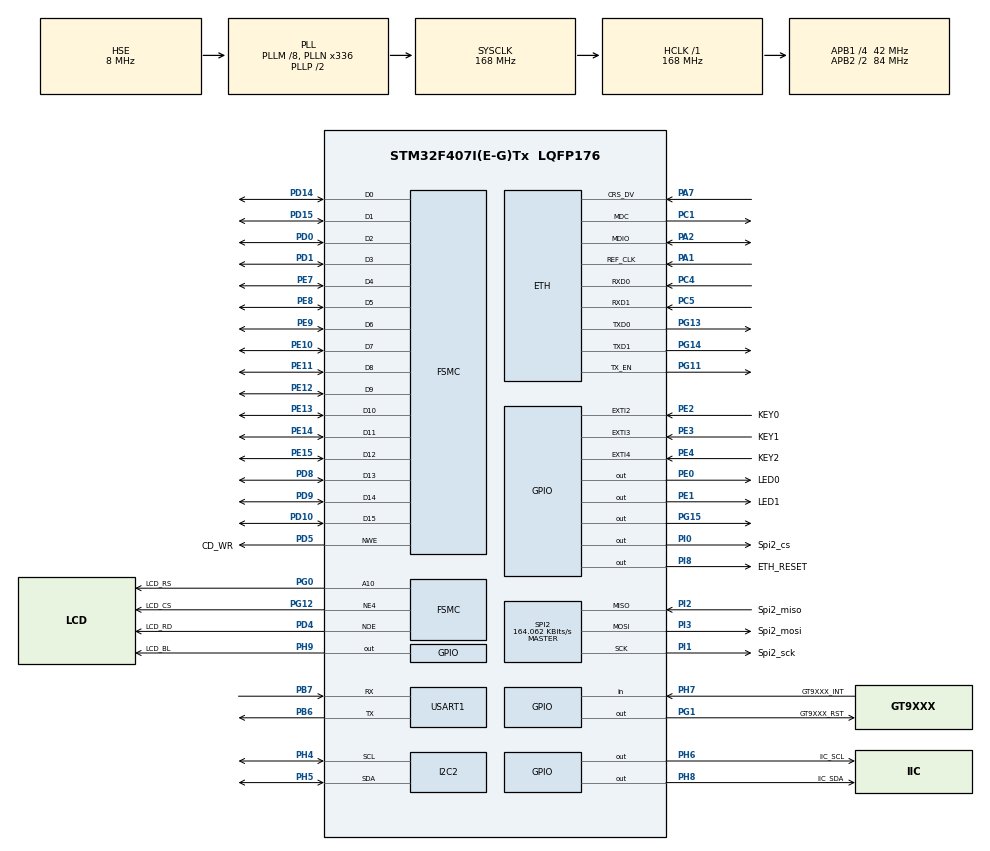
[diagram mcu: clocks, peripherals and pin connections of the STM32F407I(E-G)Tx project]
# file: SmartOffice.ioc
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ETH.MediaInterface=ETH_MEDIA_INTERFACE_RMII
ETH.PHY_DUPLEX_STATUS=0x2000
ETH.PHY_SPEED_STATUS=0x4010
ETH.PHY_SR=0x11
ETH.PhyAddress=0
FATFS._CODE_PAGE=936
FATFS._USE_LABEL=1
FATFS._USE_LFN=3
FREERTOS.Tasks01=WebServer,2,4096,WebServer_Task,Default,NULL,Dynamic,NULL,NULL;Touch,1,1024,Touch_Task,Default,NULL,Dynamic,NULL,NULL;IOT,0,256,IOT_Task,Default,NULL,Dynamic,NULL,NULL;GUI,-1,2048,GUI_Task,Default,NULL,Dynamic,NULL,NULL
FREERTOS.configTOTAL_HEAP_SIZE=40960
FSMC.AddressSetupTime1=0xf
FSMC.DataSetupTime1=60
FSMC.ExtendedAddressSetupTime1=9
FSMC.ExtendedDataSetupTime1=9
FSMC.ExtendedMode1=FSMC_EXTENDED_MODE_ENABLE
LWIP.GATEWAY_ADDRESS=011.010.001.001
LWIP.IP_ADDRESS=010.010.001.022
LWIP.LWIP_DHCP=0
LWIP.LWIP_NETIF_LINK_CALLBACK=1
LWIP.MEM_SIZE=10240
LWIP.NETMASK_ADDRESS=255.255.255.000
LWIP.Version=v2.0.3_Cube
Mcu.Family=STM32F4
Mcu.Name=STM32F407I(E-G)Tx
Mcu.Package=LQFP176
NVIC.ETH_IRQn=true\:6\:0\:true\:false\:true\:true\:true\:true
NVIC.EXTI2_IRQn=true\:6\:0\:true\:false\:true\:true\:true\:true
NVIC.EXTI3_IRQn=true\:6\:0\:true\:false\:true\:true\:true\:true
NVIC.EXTI4_IRQn=true\:6\:0\:true\:false\:true\:true\:true\:true
NVIC.PriorityGroup=NVIC_PRIORITYGROUP_4
NVIC.TIM1_UP_TIM10_IRQn=true\:0\:0\:false\:false\:true\:false\:false\:true
NVIC.TimeBase=TIM1_UP_TIM10_IRQn
NVIC.TimeBaseIP=TIM1
PA1.Mode=RMII
PA1.Signal=ETH_REF_CLK
PA13.Mode=Serial_Wire
PA13.Signal=SYS_JTMS-SWDIO
PA14.Mode=Serial_Wire
PA14.Signal=SYS_JTCK-SWCLK
PA2.Mode=RMII
PA2.Signal=ETH_MDIO
PA7.Mode=RMII
PA7.Signal=ETH_CRS_DV
PB6.Mode=Asynchronous
PB6.Signal=USART1_TX
PB7.Mode=Asynchronous
PB7.Signal=USART1_RX
PC1.Mode=RMII
PC1.Signal=ETH_MDC
PC4.Mode=RMII
PC4.Signal=ETH_RXD0
PC5.Mode=RMII
PC5.Signal=ETH_RXD1
PD0.Signal=FSMC_D2_DA2
PD1.Signal=FSMC_D3_DA3
PD10.Signal=FSMC_D15_DA15
PD14.Signal=FSMC_D0_DA0
PD15.Signal=FSMC_D1_DA1
PD4.GPIO_Label=LCD_RD
PD4.GPIO_PuPd=GPIO_PULLUP
PD4.Signal=FSMC_NOE
PD5.GPIO_Label=CD_WR
PD5.GPIO_PuPd=GPIO_PULLUP
PD5.Signal=FSMC_NWE
PD8.Signal=FSMC_D13_DA13
PD9.Signal=FSMC_D14_DA14
PE0.GPIO_Label=LED0
PE0.GPIO_Speed=GPIO_SPEED_FREQ_HIGH
PE0.PinState=GPIO_PIN_SET
PE0.Signal=GPIO_Output
PE1.GPIO_Label=LED1
PE1.GPIO_Speed=GPIO_SPEED_FREQ_HIGH
PE1.PinState=GPIO_PIN_SET
PE1.Signal=GPIO_Output
PE10.Signal=FSMC_D7_DA7
PE11.Signal=FSMC_D8_DA8
PE12.Signal=FSMC_D9_DA9
PE13.Signal=FSMC_D10_DA10
PE14.Signal=FSMC_D11_DA11
PE15.Signal=FSMC_D12_DA12
PE2.GPIO_Label=KEY0
PE2.GPIO_ModeDefaultEXTI=GPIO_MODE_IT_FALLING
PE2.GPIO_PuPd=GPIO_PULLUP
PE2.Signal=GPXTI2
PE3.GPIO_Label=KEY1
PE3.GPIO_ModeDefaultEXTI=GPIO_MODE_IT_FALLING
PE3.GPIO_PuPd=GPIO_PULLUP
PE3.Signal=GPXTI3
PE4.GPIO_Label=KEY2
PE4.GPIO_ModeDefaultEXTI=GPIO_MODE_IT_FALLING
PE4.GPIO_PuPd=GPIO_PULLUP
PE4.Signal=GPXTI4
PE7.Signal=FSMC_D4_DA4
PE8.Signal=FSMC_D5_DA5
PE9.Signal=FSMC_D6_DA6
PG0.GPIO_Label=LCD_RS
PG0.GPIO_PuPd=GPIO_PULLUP
PG0.Signal=FSMC_A10
PG1.GPIO_Label=GT9XXX_RST
PG1.GPIO_PuPd=GPIO_PULLUP
PG1.GPIO_Speed=GPIO_SPEED_FREQ_VERY_HIGH
PG1.Signal=GPIO_Output
PG11.Mode=RMII
PG11.Signal=ETH_TX_EN
PG12.GPIO_Label=LCD_CS
PG12.GPIO_PuPd=GPIO_PULLUP
PG12.Mode=NorPsramChipSelect4_1
PG12.Signal=FSMC_NE4
PG13.Mode=RMII
PG13.Signal=ETH_TXD0
PG14.Mode=RMII
PG14.Signal=ETH_TXD1
PG15.Signal=GPIO_Output
PH0-OSC_IN.Mode=HSE-External-Oscillator
PH0-OSC_IN.Signal=RCC_OSC_IN
PH1-OSC_OUT.Mode=HSE-External-Oscillator
PH1-OSC_OUT.Signal=RCC_OSC_OUT
PH4.Mode=I2C
PH4.Signal=I2C2_SCL
PH5.Mode=I2C
PH5.Signal=I2C2_SDA
PH6.GPIO_Label=IIC_SCL  
PH6.GPIO_PuPd=GPIO_PULLUP
PH6.GPIO_Speed=GPIO_SPEED_FREQ_VERY_HIGH
PH6.Signal=GPIO_Output
PH7.GPIO_Label=GT9XXX_INT
PH7.Signal=GPIO_Input
PH8.GPIO_Label=IIC_SDA
PH8.GPIO_ModeDefaultOutputPP=GPIO_MODE_OUTPUT_OD
PH8.GPIO_PuPd=GPIO_PULLUP
PH8.GPIO_Speed=GPIO_SPEED_FREQ_VERY_HIGH
PH8.Signal=GPIO_Output
PH9.GPIO_Label=LCD_BL
PH9.GPIO_PuPd=GPIO_NOPULL
PH9.GPIO_Speed=GPIO_SPEED_FREQ_HIGH
PH9.PinState=GPIO_PIN_SET
PH9.Signal=GPIO_Output
PI0.GPIO_Label=Spi2_cs
PI0.GPIO_PuPd=GPIO_PULLUP
PI0.GPIO_Speed=GPIO_SPEED_FREQ_HIGH
PI0.PinState=GPIO_PIN_SET
PI0.Signal=GPIO_Output
PI1.GPIO_Label=Spi2_sck
PI1.GPIO_PuPd=GPIO_PULLUP
PI1.Mode=Full_Duplex_Master
PI1.Signal=SPI2_SCK
PI2.GPIO_Label=Spi2_miso
PI2.GPIO_PuPd=GPIO_PULLUP
PI2.Mode=Full_Duplex_Master
PI2.Signal=SPI2_MISO
PI3.GPIO_Label=Spi2_mosi
PI3.GPIO_PuPd=GPIO_PULLUP
PI3.Mode=Full_Duplex_Master
PI3.Signal=SPI2_MOSI
PI8-\ ANTI\ TAMP2.GPIO_Label=ETH_RESET
PI8-\ ANTI\ TAMP2.GPIO_Speed=GPIO_SPEED_FREQ_VERY_HIGH
PI8-\ ANTI\ TAMP2.PinState=GPIO_PIN_SET
PI8-\ ANTI\ TAMP2.Signal=GPIO_Output
ProjectManager.HeapSize=0x1000
ProjectManager.StackSize=0x400
ProjectManager.TargetToolchain=MDK-ARM V5
RCC.48MHZClocksFreq_Value=84000000
RCC.AHBFreq_Value=168000000
RCC.APB1CLKDivider=RCC_HCLK_DIV4
RCC.APB1Freq_Value=42000000
RCC.APB1TimFreq_Value=84000000
RCC.APB2CLKDivider=RCC_HCLK_DIV2
RCC.APB2Freq_Value=84000000
RCC.APB2TimFreq_Value=168000000
RCC.CortexFreq_Value=168000000
RCC.HCLKFreq_Value=168000000
RCC.HSE_VALUE=8000000
RCC.HSI_VALUE=16000000
RCC.LSE_VALUE=32768
RCC.PLLM=8
RCC.PLLN=336
RCC.PLLSourceVirtual=RCC_PLLSOURCE_HSE
RCC.SYSCLKFreq_VALUE=168000000
RCC.SYSCLKSource=RCC_SYSCLKSOURCE_PLLCLK
RCC.VCOOutputFreq_Value=336000000
SH.FSMC_A10.0=FSMC_A10,A10_1
SH.FSMC_D0_DA0.0=FSMC_D0,16b-d1
SH.FSMC_D10_DA10.0=FSMC_D10,16b-d1
SH.FSMC_D11_DA11.0=FSMC_D11,16b-d1
SH.FSMC_D12_DA12.0=FSMC_D12,16b-d1
SH.FSMC_D13_DA13.0=FSMC_D13,16b-d1
SH.FSMC_D14_DA14.0=FSMC_D14,16b-d1
SH.FSMC_D15_DA15.0=FSMC_D15,16b-d1
SH.FSMC_D1_DA1.0=FSMC_D1,16b-d1
SH.FSMC_D2_DA2.0=FSMC_D2,16b-d1
SH.FSMC_D3_DA3.0=FSMC_D3,16b-d1
SH.FSMC_D4_DA4.0=FSMC_D4,16b-d1
SH.FSMC_D5_DA5.0=FSMC_D5,16b-d1
SH.FSMC_D6_DA6.0=FSMC_D6,16b-d1
SH.FSMC_D7_DA7.0=FSMC_D7,16b-d1
SH.FSMC_D8_DA8.0=FSMC_D8,16b-d1
SH.FSMC_D9_DA9.0=FSMC_D9,16b-d1
SH.FSMC_NOE.0=FSMC_NOE,Lcd1
SH.FSMC_NWE.0=FSMC_NWE,Lcd1
SPI2.BaudRatePrescaler=SPI_BAUDRATEPRESCALER_256
SPI2.CLKPhase=SPI_PHASE_2EDGE
SPI2.CLKPolarity=SPI_POLARITY_HIGH
SPI2.CalculateBaudRate=164.062 KBits/s
SPI2.Direction=SPI_DIRECTION_2LINES
SPI2.Mode=SPI_MODE_MASTER
SPI2.VirtualType=VM_MASTER
USART1.VirtualMode=VM_ASYNC
VP_FATFS_VS_Generic.Mode=User_defined
VP_FREERTOS_VS_CMSIS_V1.Mode=CMSIS_V1
VP_LWIP_VS_Enabled.Mode=Enabled
VP_SYS_VS_tim1.Mode=TIM1
board=custom

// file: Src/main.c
/* USER CODE BEGIN Header */
/**
  ******************************************************************************
  * @file           : main.c
  * @brief          : Main program body
  ******************************************************************************
  * @attention
  *
  * <h2><center>&copy; Copyright (c) 2024 STMicroelectronics.
  * All rights reserved.</center></h2>
  *
  * This software component is licensed by ST under BSD 3-Clause license,
  * the "License"; You may not use this file except in compliance with the
  * License. You may obtain a copy of the License at:
  *                        opensource.org/licenses/BSD-3-Clause
  *
  ******************************************************************************
  */
/* USER CODE END Header */

#include "main.h"
#include "cmsis_os.h"
#include "fatfs.h"
#include "i2c.h"
#include "lwip.h"
#include "spi.h"
#include "usart.h"
#include "gpio.h"
#include "fsmc.h"

/* USER CODE BEGIN Includes */
#include "lcd.h"
#include "delay.h"

#include "touch.h"
#include "stm32f4xx_it.h"
/* USER CODE END Includes */

/* USER CODE BEGIN PV */
//lcd
uint8_t lcd_id[12];
uint16_t colors[12] = {WHITE, BLACK, BLUE, RED, MAGENTA, GREEN, CYAN, YELLOW, BRRED, GRAY, LGRAY, BROWN};
uint8_t color_index = 0;

//iic eeprom 24c02
uint8_t W[] = "---iic write correct---";
#define TEXT_SIZE sizeof(W) /* TEXT字符串长度 */
uint8_t R[TEXT_SIZE] = {0};

//sceen touch
/* 10个触控点的颜色(电容触摸屏用) */
const uint16_t POINT_COLOR_TBL[10] = {RED, GREEN, BLUE, BROWN, YELLOW, MAGENTA, CYAN, LIGHTBLUE, BRRED, GRAY};

#define KEY0        HAL_GPIO_ReadPin(KEY0_GPIO_Port, KEY0_Pin)     /* 读取KEY0引脚 */
#define KEY1        HAL_GPIO_ReadPin(KEY1_GPIO_Port, KEY1_Pin)     /* 读取KEY1引脚 */
#define KEY2        HAL_GPIO_ReadPin(KEY2_GPIO_Port, KEY2_Pin)     /* 读取KEY2引脚 */

#define KEY0_PRES    1              /* KEY0按下 */
#define KEY1_PRES    2              /* KEY1按下 */
#define KEY2_PRES    3              /* KEY2按下 */
/* USER CODE END PV */

void SystemClock_Config(void);
void MX_FREERTOS_Init(void);
/* USER CODE BEGIN PFP */
//screen touch test
uint8_t sys_stm32_clock_init(uint32_t plln, uint32_t pllm, uint32_t pllp, uint32_t pllq);
uint8_t key_scan(uint8_t mode);
void load_draw_dialog(void);
void lcd_draw_bline(uint16_t x1, uint16_t y1, uint16_t x2, uint16_t y2, uint8_t size, uint16_t color);
void rtp_test(void);
void ctp_test(void);
/* USER CODE END PFP */

int main(void)
{

  /* MCU Configuration--------------------------------------------------------*/

  /* Reset of all peripherals, Initializes the Flash interface and the Systick. */
  HAL_Init();

  /* Configure the system clock */
  SystemClock_Config();

  /* Initialize all configured peripherals */
  MX_GPIO_Init();
  MX_FSMC_Init();
  MX_USART1_UART_Init();
  MX_I2C2_Init();
  MX_SPI2_Init();
  /* USER CODE BEGIN 2 */
	//lcd init
	/*
	delay_init(168);                    // 延时初始化
	lcd_init();                             // 初始化LCD
  sprintf((char *)lcd_id, "LCD ID:%04X", lcddev.id);  // 将LCD ID打印到lcd_id数组
	*/

	/*
	//iic eeprom 24c02 test
	printf("I2C2 EEPROM test!\n");
	Eeprom_Write(0, W, TEXT_SIZE);
	HAL_Delay(1000);
	Eeprom_Read(0, R, TEXT_SIZE);
	printf("Read: %s\n", R);

	//screen touch init
	tp_dev.init();                      // 触摸屏初始化

	lcd_show_string(30, 50, 200, 16, 16, "STM32", RED);
	lcd_show_string(30, 70, 200, 16, 16, "TOUCH TEST", RED);
	lcd_show_string(30, 90, 200, 16, 16, "ATOM@ALIENTEK", RED);

	if (tp_dev.touchtype == 0xFF)
	{
		printf("This is ctp screen!\n");
		lcd_show_string(30, 110, 200, 16, 16, "Press KEY0 to Adjust", RED); // 电阻屏才显示
	}

	delay_ms(1000);
	load_draw_dialog();

	if (tp_dev.touchtype & 0x80)
	{
		printf("This is ctp test!\n");
		ctp_test(); // 电容屏测试
	}
	else
	{
		printf("This is rtp test!\n");
		rtp_test(); // 电阻屏测试
	}
	*/
  /* USER CODE END 2 */

  /* Call init function for freertos objects (in freertos.c) */
  MX_FREERTOS_Init();

  /* Start scheduler */
  osKernelStart();

  /* We should never get here as control is now taken by the scheduler */

  /* Infinite loop */
  /* USER CODE BEGIN WHILE */
  while (1)
  {
		//test lwip
		//MX_LWIP_Process();  //lwip进程

		//lcd test
		/*
		lcd_clear(colors[color_index]);  //清屏

		lcd_show_string(10, 40, 240, 32, 32, "STM32", RED);
		lcd_show_string(10, 80, 240, 24, 24, "TFTLCD TEST", RED);
		lcd_show_string(10, 110, 240, 16, 16, "ATOM@ALIENTEK", RED);
		lcd_show_string(10, 130, 240, 16, 16, (char *)lcd_id, RED); // 显示LCD ID
		color_index++;

		if (color_index == 12){
				color_index = 0;
		}
		HAL_GPIO_TogglePin(LED0_GPIO_Port, LED0_Pin); // LED0闪烁
		HAL_Delay(1000);
		*/
    /* USER CODE END WHILE */

  }
}

void SystemClock_Config(void)
{
  RCC_OscInitTypeDef RCC_OscInitStruct = {0};
  RCC_ClkInitTypeDef RCC_ClkInitStruct = {0};

  /** Configure the main internal regulator output voltage
  */
  __HAL_RCC_PWR_CLK_ENABLE();
  __HAL_PWR_VOLTAGESCALING_CONFIG(PWR_REGULATOR_VOLTAGE_SCALE1);
  /** Initializes the CPU, AHB and APB busses clocks
  */
  RCC_OscInitStruct.OscillatorType = RCC_OSCILLATORTYPE_HSE;
  RCC_OscInitStruct.HSEState = RCC_HSE_ON;
  RCC_OscInitStruct.PLL.PLLState = RCC_PLL_ON;
  RCC_OscInitStruct.PLL.PLLSource = RCC_PLLSOURCE_HSE;
  RCC_OscInitStruct.PLL.PLLM = 8;
  RCC_OscInitStruct.PLL.PLLN = 336;
  RCC_OscInitStruct.PLL.PLLP = RCC_PLLP_DIV2;
  RCC_OscInitStruct.PLL.PLLQ = 4;
  if (HAL_RCC_OscConfig(&RCC_OscInitStruct) != HAL_OK)
  {
    Error_Handler();
  }
  /** Initializes the CPU, AHB and APB busses clocks
  */
  RCC_ClkInitStruct.ClockType = RCC_CLOCKTYPE_HCLK|RCC_CLOCKTYPE_SYSCLK
                              |RCC_CLOCKTYPE_PCLK1|RCC_CLOCKTYPE_PCLK2;
  RCC_ClkInitStruct.SYSCLKSource = RCC_SYSCLKSOURCE_PLLCLK;
  RCC_ClkInitStruct.AHBCLKDivider = RCC_SYSCLK_DIV1;
  RCC_ClkInitStruct.APB1CLKDivider = RCC_HCLK_DIV4;
  RCC_ClkInitStruct.APB2CLKDivider = RCC_HCLK_DIV2;

  if (HAL_RCC_ClockConfig(&RCC_ClkInitStruct, FLASH_LATENCY_5) != HAL_OK)
  {
    Error_Handler();
  }
}

/* USER CODE BEGIN 4 */

/**
 * @brief       按键扫描函数
 * @note        该函数有响应优先级(同时按下多个按键): WK_UP > KEY2 > KEY1 > KEY0!!
 * @param       mode:0 / 1, 具体含义如下:
 *   @arg       0,  不支持连续按(当按键按下不放时, 只有第一次调用会返回键值,
 *                  必须松开以后, 再次按下才会返回其他键值)
 *   @arg       1,  支持连续按(当按键按下不放时, 每次调用该函数都会返回键值)
 * @retval      键值, 定义如下:
 *              KEY0_PRES, 1, KEY0按下
 *              KEY1_PRES, 2, KEY1按下
 *              KEY2_PRES, 3, KEY2按下
 *              WKUP_PRES, 4, WKUP按下
 */
uint8_t key_scan(uint8_t mode)
{
    static uint8_t key_up = 1;  /* 按键按松开标志 */
    uint8_t keyval = 0;

    if (mode) key_up = 1;       /* 支持连按 */

    if (key_up && (KEY0 == 0 || KEY1 == 0 || KEY2 == 0))  /* 按键松开标志为1, 且有任意一个按键按下了 */
    {
        delay_ms(10);           /* 去抖动 */
        key_up = 0;

        if (KEY0 == 0)  keyval = KEY0_PRES;

        if (KEY1 == 0)  keyval = KEY1_PRES;

        if (KEY2 == 0)  keyval = KEY2_PRES;
    }
    else if (KEY0 == 1 && KEY1 == 1 && KEY2 == 1)         /* 没有任何按键按下, 标记按键松开 */
    {
        key_up = 1;
    }

    return keyval;              /* 返回键值 */
}

/**
 * @brief       清空屏幕并在右上角显示 "RST"
 * @param       无
 * @retval      无
 */
void load_draw_dialog(void)
{
    lcd_clear(WHITE);                                                /* 清屏 */
    lcd_show_string(lcddev.width - 24, 0, 200, 16, 16, "RST", BLUE); /* 显示清屏区域 */
}

/**
 * @brief       画粗线
 * @param       x1,y1: 起点坐标
 * @param       x2,y2: 终点坐标
 * @param       size : 线条粗细程度
 * @param       color: 线的颜色
 * @retval      无
 */
void lcd_draw_bline(uint16_t x1, uint16_t y1, uint16_t x2, uint16_t y2, uint8_t size, uint16_t color)
{
    uint16_t t;
    int xerr = 0, yerr = 0, delta_x, delta_y, distance;
    int incx, incy, row, col;

    if (x1 < size || x2 < size || y1 < size || y2 < size)
        return;

    delta_x = x2 - x1; /* 计算坐标增量 */
    delta_y = y2 - y1;
    row = x1;
    col = y1;

    if (delta_x > 0)
    {
        incx = 1; /* 设置单步方向 */
    }
    else if (delta_x == 0)
    {
        incx = 0; /* 垂直线 */
    }
    else
    {
        incx = -1;
        delta_x = -delta_x;
    }

    if (delta_y > 0)
    {
        incy = 1;
    }
    else if (delta_y == 0)
    {
        incy = 0; /* 水平线 */
    }
    else
    {
        incy = -1;
        delta_y = -delta_y;
    }

    if (delta_x > delta_y)
        distance = delta_x; /* 选取基本增量坐标轴 */
    else
        distance = delta_y;

    for (t = 0; t <= distance + 1; t++) /* 画线输出 */
    {
        lcd_fill_circle(row, col, size, color); /* 画点 */
        xerr += delta_x;
        yerr += delta_y;

        if (xerr > distance)
        {
            xerr -= distance;
            row += incx;
        }

        if (yerr > distance)
        {
            yerr -= distance;
            col += incy;
        }
    }
}

/**
 * @brief       电阻触摸屏测试函数
 * @param       无
 * @retval      无
 */
void rtp_test(void)
{
    uint8_t key;
    uint8_t i = 0;

    while (1)
    {
        key = key_scan(0);
        tp_dev.scan(0);

        if (tp_dev.sta & TP_PRES_DOWN)  /* 触摸屏被按下 */
        {
            if (tp_dev.x[0] < lcddev.width && tp_dev.y[0] < lcddev.height)
            {
                if (tp_dev.x[0] > (lcddev.width - 24) && tp_dev.y[0] < 16)
                {
                    load_draw_dialog(); /* 清除 */
                }
                else
                {
                    tp_draw_big_point(tp_dev.x[0], tp_dev.y[0], RED);   /* 画点 */
                }
            }
        }
        else
        {
            delay_ms(10);       /* 没有按键按下的时候 */
        }

        if (key == KEY0_PRES)   /* KEY0按下,则执行校准程序 */
        {
            lcd_clear(WHITE);   /* 清屏 */
            tp_adjust();        /* 屏幕校准 */
            tp_save_adjust_data();
            load_draw_dialog();
        }

        i++;

        if (i % 20 == 0)HAL_GPIO_TogglePin(LED0_GPIO_Port, LED0_Pin); /* LED0闪烁 */
    }
}

/**
 * @brief       电容触摸屏测试函数
 * @param       无
 * @retval      无
 */
void ctp_test(void)
{
		printf("ctp_test!\n");
    uint8_t t = 0;
    uint8_t i = 0;
    uint16_t lastpos[10][2];        /* 最后一次的数据 */
    uint8_t maxp = 5;

    if (lcddev.id == 0x1018)maxp = 10;

    while (1)
    {
        tp_dev.scan(0);

        for (t = 0; t < maxp; t++)
        {
            if ((tp_dev.sta) & (1 << t))
            {
                if (tp_dev.x[t] < lcddev.width && tp_dev.y[t] < lcddev.height)  /* 坐标在屏幕范围内 */
                {
                    if (lastpos[t][0] == 0xFFFF)
                    {
                        lastpos[t][0] = tp_dev.x[t];
                        lastpos[t][1] = tp_dev.y[t];
                    }

                    lcd_draw_bline(lastpos[t][0], lastpos[t][1], tp_dev.x[t], tp_dev.y[t], 2, POINT_COLOR_TBL[t]);  /* 画线 */
                    lastpos[t][0] = tp_dev.x[t];
                    lastpos[t][1] = tp_dev.y[t];

                    if (tp_dev.x[t] > (lcddev.width - 24) && tp_dev.y[t] < 20)
                    {
                        load_draw_dialog(); /* 清除 */
                    }
                }
            }
            else
            {
                lastpos[t][0] = 0xFFFF;
            }
        }

        delay_ms(5);
        i++;

        if (i % 20 == 0)
        {
            HAL_GPIO_TogglePin(LED0_GPIO_Port, LED0_Pin); /* LED0闪烁 */
        }
    }
}

/* USER CODE END 4 */

void HAL_TIM_PeriodElapsedCallback(TIM_HandleTypeDef *htim)
{
  if (htim->Instance == TIM1) {
    HAL_IncTick();
  }
}

void Error_Handler(void)
{
}

/************************ (C) COPYRIGHT STMicroelectronics *****END OF FILE****/

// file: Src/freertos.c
/* USER CODE BEGIN Header */
/**
  ******************************************************************************
  * File Name          : freertos.c
  * Description        : Code for freertos applications
  ******************************************************************************
  * @attention
  *
  * <h2><center>&copy; Copyright (c) 2024 STMicroelectronics.
  * All rights reserved.</center></h2>
  *
  * This software component is licensed by ST under Ultimate Liberty license
  * SLA0044, the "License"; You may not use this file except in compliance with
  * the License. You may obtain a copy of the License at:
  *                             www.st.com/SLA0044
  *
  ******************************************************************************
  */
/* USER CODE END Header */

#include "FreeRTOS.h"
#include "task.h"
#include "main.h"
#include "cmsis_os.h"

/* USER CODE BEGIN Includes */
#include "usart.h"
#include "delay.h"
#include "lcd.h"
#include "touch.h"
#include "norflash.h"

//ds18b20
#include "ds18b20.h"

//dht11
#include "dht11.h"

//#include "fonts.h" //加载中文字库
//#include "text.h"  //显示中文

//#include "malloc.h"
/* USER CODE END Includes */

/* USER CODE BEGIN Variables */
//lcd
extern uint8_t lcd_id[12]; //main.c

uint16_t id;  //norflash id

//ds18b20
int16_t temperature;

//dht11
uint8_t t = 0;
uint16_t humidity;
uint16_t temperatures;

# if 1
# define ENABEL_DHT11
# else
# define ENABEL_DS18B20
# endif

osSemaphoreId TemperatureBinarySemHandle;

//osSemaphoreId LCDBinarySemHandle;
/* USER CODE END Variables */
osThreadId WebServerHandle;
osThreadId TouchHandle;
osThreadId IOTHandle;
osThreadId GUIHandle;

void WebServer_Task(void const * argument);
void Touch_Task(void const * argument);
void IOT_Task(void const * argument);
void GUI_Task(void const * argument);

extern void MX_LWIP_Init(void);
extern void MX_FATFS_Init(void);
void MX_FREERTOS_Init(void); /* (MISRA C 2004 rule 8.1) */

/* GetIdleTaskMemory prototype (linked to static allocation support) */
void vApplicationGetIdleTaskMemory( StaticTask_t **ppxIdleTaskTCBBuffer, StackType_t **ppxIdleTaskStackBuffer, uint32_t *pulIdleTaskStackSize );

/* USER CODE BEGIN GET_IDLE_TASK_MEMORY */
static StaticTask_t xIdleTaskTCBBuffer;
static StackType_t xIdleStack[configMINIMAL_STACK_SIZE];

void vApplicationGetIdleTaskMemory( StaticTask_t **ppxIdleTaskTCBBuffer, StackType_t **ppxIdleTaskStackBuffer, uint32_t *pulIdleTaskStackSize )
{
  *ppxIdleTaskTCBBuffer = &xIdleTaskTCBBuffer;
  *ppxIdleTaskStackBuffer = &xIdleStack[0];
  *pulIdleTaskStackSize = configMINIMAL_STACK_SIZE;
  /* place for user code */
}
/* USER CODE END GET_IDLE_TASK_MEMORY */

void MX_FREERTOS_Init(void) {
  /* USER CODE BEGIN Init */
  osSemaphoreDef(TemperatureBinarySem);
  TemperatureBinarySemHandle = osSemaphoreCreate(osSemaphore(TemperatureBinarySem), 1);

	//osSemaphoreDef(LCDBinarySem);
	//LCDBinarySemHandle = osSemaphoreCreate(osSemaphore(LCDBinarySem), 1);
  /* USER CODE END Init */

  /* Create the thread(s) */
  /* definition and creation of WebServer */
  osThreadDef(WebServer, WebServer_Task, osPriorityHigh, 0, 4096);
  WebServerHandle = osThreadCreate(osThread(WebServer), NULL);

  /* definition and creation of Touch */
  osThreadDef(Touch, Touch_Task, osPriorityAboveNormal, 0, 1024);
  TouchHandle = osThreadCreate(osThread(Touch), NULL);

  /* definition and creation of IOT */
  osThreadDef(IOT, IOT_Task, osPriorityNormal, 0, 256);
  IOTHandle = osThreadCreate(osThread(IOT), NULL);

  /* definition and creation of GUI */
  osThreadDef(GUI, GUI_Task, osPriorityBelowNormal, 0, 2048);
  GUIHandle = osThreadCreate(osThread(GUI), NULL);

}

void WebServer_Task(void const * argument)
{

  /* init code for LWIP */
  MX_LWIP_Init();

  /* init code for FATFS */
  MX_FATFS_Init();

  /* USER CODE BEGIN WebServer_Task */
	//SPI Flash
	norflash_init();  //初始化norflash
	id = norflash_read_id();
	printf("norflash id is %d\n", id);

	osDelay(10);
#ifdef ENABEL_DS18B20
	if(!DS18B20_Init()){
		printf(" DS18B20  is already\n");

	}else{
		printf(" Can not detect DS18B20!\n");
	}
#endif

#ifdef ENABEL_DHT11
	if(!dht11_init()){
		printf(" DHT11  is already\n");

	}else{
		printf(" Can not detect DHT11!\n");
	}
#endif
  /* Infinite loop */
  for(;;)
  {
#ifdef ENABEL_DS18B20
    temperature = DS18B20_Get_Temp();
		if(temperature<0){
			printf("-");											//显示负号
			temperature=-temperature;					//转为正数
		}
		printf("temperature = %d.%d\n",temperature/10,temperature%10);
#endif
#ifdef ENABEL_DHT11
		if (t % 10 == 0) /* 每100ms读取一次 */ {
			//发现复位之后在dht11_read_data执行完成之前，打印了温度和湿度信息
			//因此使用二值信号量同步

			dht11_read_data(&temperatures, &humidity); /* 读取温湿度值 */

			if(xSemaphoreTake(TemperatureBinarySemHandle, NULL) == pdPASS){  //释放信号量成功
				printf("temperature: %d.%dC\n", (temperatures>>8), (temperatures & 0xFF));/* 显示温度 */
				printf("humidity: %d.%d %%\n", (humidity>>8), (humidity & 0xFF)); /* 显示湿度 */
			}
			xSemaphoreGive(TemperatureBinarySemHandle);
		}
		t++;
#endif
    osDelay(1000);
  }
  /* USER CODE END WebServer_Task */
}

void Touch_Task(void const * argument)
{
  /* USER CODE BEGIN Touch_Task */
	//lcd init
	//xSemaphoreTake(LCDBinarySemHandle, NULL);
	delay_init(168);                    // 延时初始化
	lcd_init();                             // 初始化LCD
  sprintf((char *)lcd_id, "LCD ID:%04X", lcddev.id);  // 将LCD ID打印到lcd_id数组
	/*
	my_mem_init(SRAMIN);                // 初始化内部SRAM内存池
	my_mem_init(SRAMCCM);               // 初始化内部SRAMCCM内存池
	while (fonts_init()){};  //加载字库
	*/
  //xSemaphoreGive(LCDBinarySemHandle);

	//screen touch init
	tp_dev.init();                      // 触摸屏初始化
  /* Infinite loop */
  for(;;)
  {

    osDelay(100);
  }
  /* USER CODE END Touch_Task */
}

void IOT_Task(void const * argument)
{
  for(;;)
  {
    osDelay(1);
  }
}

void GUI_Task(void const * argument)
{
  /* USER CODE BEGIN GUI_Task */
  /* Infinite loop */
  for(;;)
  {
		/*
		//显示中文测试
		lcd_clear(WHITE);               // 清屏
		text_show_string(30, 30, 200, 16, "正点原子STM32开发板", 16, 0, RED);
		*/
    osDelay(100);
  }
  /* USER CODE END GUI_Task */
}

/************************ (C) COPYRIGHT STMicroelectronics *****END OF FILE****/
